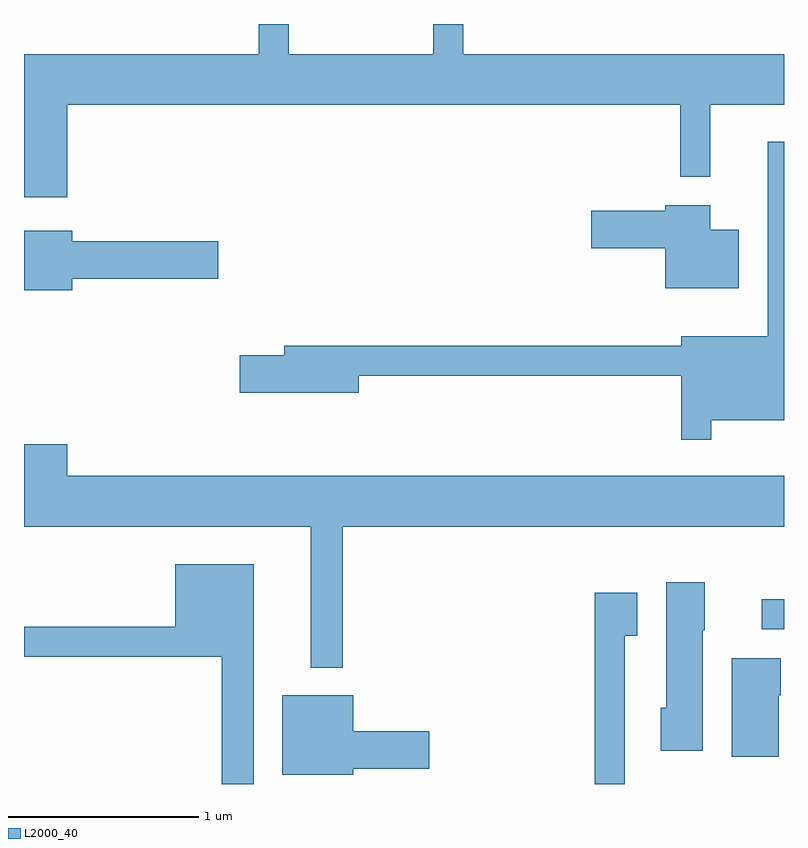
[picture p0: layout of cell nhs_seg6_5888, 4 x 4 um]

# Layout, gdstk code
import gdstk
lib = gdstk.Library(unit=1e-6, precision=1e-09)
def R(c, l, rs):  # rectangles x0, y0, x1, y1
    for r in rs: c.add(gdstk.rectangle(r[:2], r[2:], *l))
def P(c, l, *ps):  # polygons
    for p in ps: c.add(gdstk.Polygon(p, *l))
L2000_40 = (2000, 40)

nhs_seg6_5888 = lib.new_cell('nhs_seg6_5888')
R(nhs_seg6_5888, L2000_40, [(367.493,1624.976,367.611,1625.134)])
P(nhs_seg6_5888, L2000_40, [(365.766,1628.162),(365.766,1628.004),(365.004,1628.004),(365.004,1628.162),(364.846,1628.162),(364.846,1628.004),(363.611,1628.004),(363.611,1627.251),(363.839,1627.251),(363.839,1627.736),(367.066,1627.736),(367.066,1627.358),(367.224,1627.358),(367.224,1627.736),(367.611,1627.736),(367.611,1628.004),(365.924,1628.004),(365.924,1628.162)],
  [(367.229,1626.076),(367.611,1626.076),(367.611,1627.543),(367.526,1627.543),(367.526,1626.519),(367.071,1626.519),(367.071,1626.469),(364.981,1626.469),(364.981,1626.419),(364.746,1626.419),(364.746,1626.221),(365.374,1626.221),(365.374,1626.311),(367.071,1626.311),(367.071,1625.973),(367.229,1625.973)],
  [(367.374,1627.079),(367.224,1627.079),(367.224,1627.209),(366.986,1627.209),(366.986,1627.179),(366.596,1627.179),(366.596,1626.981),(366.986,1626.981),(366.986,1626.771),(367.374,1626.771)],
  [(363.864,1626.821),(364.634,1626.821),(364.634,1627.019),(363.864,1627.019),(363.864,1627.074),(363.611,1627.074),(363.611,1626.761),(363.864,1626.761)],
  [(363.611,1625.949),(363.611,1625.516),(365.121,1625.516),(365.121,1624.773),(365.289,1624.773),(365.289,1625.516),(367.611,1625.516),(367.611,1625.784),(363.839,1625.784),(363.839,1625.949)],
  [(364.819,1625.319),(364.406,1625.319),(364.406,1624.989),(363.611,1624.989),(363.611,1624.831),(364.651,1624.831),(364.651,1624.162),(364.819,1624.162)],
  [(367.184,1624.97),(367.194,1624.97),(367.194,1625.224),(366.991,1625.224),(366.991,1624.564),(366.961,1624.564),(366.961,1624.336),(367.184,1624.336)],
  [(366.774,1624.941),(366.839,1624.941),(366.839,1625.169),(366.616,1625.169),(366.616,1624.162),(366.774,1624.162)],
  [(367.584,1624.63),(367.594,1624.63),(367.594,1624.824),(367.336,1624.824),(367.336,1624.306),(367.584,1624.306)],
  [(365.344,1624.241),(365.744,1624.241),(365.744,1624.439),(365.344,1624.439),(365.344,1624.629),(364.971,1624.629),(364.971,1624.211),(365.344,1624.211)])

lib.write_gds('nhs_seg6_5888.gds')
